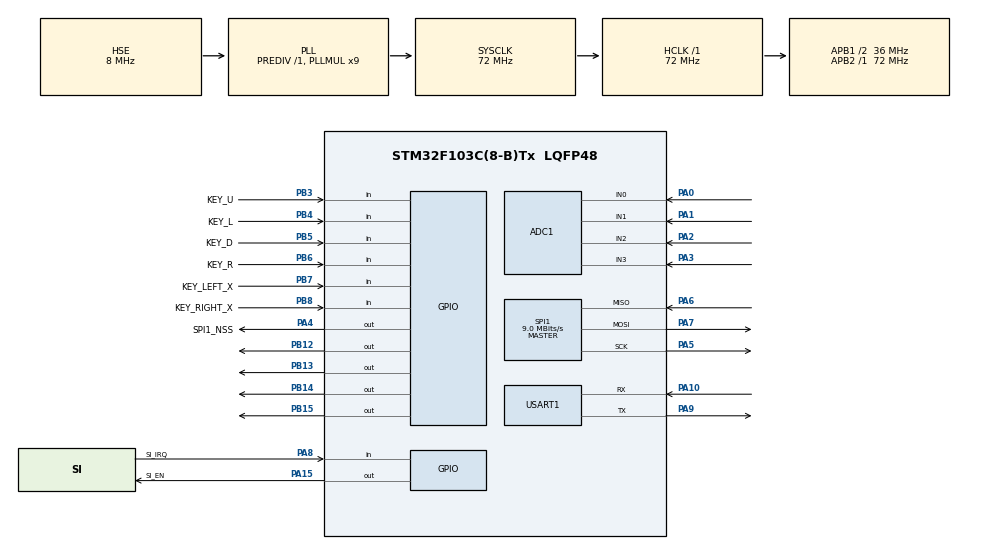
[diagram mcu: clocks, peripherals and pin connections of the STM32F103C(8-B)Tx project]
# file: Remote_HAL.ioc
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ADC1.Channel-0\#ChannelRegularConversion=ADC_CHANNEL_0
ADC1.Channel-1\#ChannelRegularConversion=ADC_CHANNEL_1
ADC1.Channel-2\#ChannelRegularConversion=ADC_CHANNEL_2
ADC1.Channel-3\#ChannelRegularConversion=ADC_CHANNEL_3
ADC1.ContinuousConvMode=ENABLE
ADC1.NbrOfConversion=4
ADC1.NbrOfConversionFlag=1
ADC1.Rank-0\#ChannelRegularConversion=1
ADC1.Rank-1\#ChannelRegularConversion=2
ADC1.Rank-2\#ChannelRegularConversion=3
ADC1.Rank-3\#ChannelRegularConversion=4
ADC1.SamplingTime-0\#ChannelRegularConversion=ADC_SAMPLETIME_7CYCLES_5
ADC1.SamplingTime-1\#ChannelRegularConversion=ADC_SAMPLETIME_7CYCLES_5
ADC1.SamplingTime-2\#ChannelRegularConversion=ADC_SAMPLETIME_7CYCLES_5
ADC1.SamplingTime-3\#ChannelRegularConversion=ADC_SAMPLETIME_7CYCLES_5
ADC1.master=1
Dma.ADC1.0.Direction=DMA_PERIPH_TO_MEMORY
Dma.ADC1.0.Instance=DMA1_Channel1
Dma.ADC1.0.MemDataAlignment=DMA_MDATAALIGN_HALFWORD
Dma.ADC1.0.MemInc=DMA_MINC_ENABLE
Dma.ADC1.0.Mode=DMA_CIRCULAR
Dma.ADC1.0.PeriphDataAlignment=DMA_PDATAALIGN_HALFWORD
Dma.ADC1.0.PeriphInc=DMA_PINC_DISABLE
Dma.ADC1.0.Priority=DMA_PRIORITY_HIGH
Dma.Request0=ADC1
Mcu.Family=STM32F1
Mcu.Name=STM32F103C(8-B)Tx
Mcu.Package=LQFP48
NVIC.DMA1_Channel1_IRQn=true\:0\:0\:false\:false\:true\:false\:true\:true
NVIC.PriorityGroup=NVIC_PRIORITYGROUP_4
PA0-WKUP.Signal=ADCx_IN0
PA1.Signal=ADCx_IN1
PA10.Mode=Asynchronous
PA10.Signal=USART1_RX
PA13.Mode=Serial_Wire
PA13.Signal=SYS_JTMS-SWDIO
PA14.Mode=Serial_Wire
PA14.Signal=SYS_JTCK-SWCLK
PA15.GPIO_Label=SI_EN
PA15.GPIO_Speed=GPIO_SPEED_FREQ_HIGH
PA15.PinState=GPIO_PIN_SET
PA15.Signal=GPIO_Output
PA2.Signal=ADCx_IN2
PA3.Signal=ADCx_IN3
PA4.GPIO_Label=SPI1_NSS
PA4.GPIO_Speed=GPIO_SPEED_FREQ_HIGH
PA4.PinState=GPIO_PIN_SET
PA4.Signal=GPIO_Output
PA5.Mode=Full_Duplex_Master
PA5.Signal=SPI1_SCK
PA6.Mode=Full_Duplex_Master
PA6.Signal=SPI1_MISO
PA7.Mode=Full_Duplex_Master
PA7.Signal=SPI1_MOSI
PA8.GPIO_Label=SI_IRQ
PA8.GPIO_PuPd=GPIO_PULLUP
PA8.Signal=GPIO_Input
PA9.Mode=Asynchronous
PA9.Signal=USART1_TX
PB12.GPIO_Speed=GPIO_SPEED_FREQ_HIGH
PB12.PinState=GPIO_PIN_SET
PB12.Signal=GPIO_Output
PB13.GPIO_Speed=GPIO_SPEED_FREQ_HIGH
PB13.PinState=GPIO_PIN_SET
PB13.Signal=GPIO_Output
PB14.GPIO_Speed=GPIO_SPEED_FREQ_HIGH
PB14.PinState=GPIO_PIN_SET
PB14.Signal=GPIO_Output
PB15.GPIO_Speed=GPIO_SPEED_FREQ_HIGH
PB15.PinState=GPIO_PIN_SET
PB15.Signal=GPIO_Output
PB3.GPIO_Label=KEY_U
PB3.GPIO_PuPd=GPIO_PULLUP
PB3.Signal=GPIO_Input
PB4.GPIO_Label=KEY_L
PB4.GPIO_PuPd=GPIO_PULLUP
PB4.Signal=GPIO_Input
PB5.GPIO_Label=KEY_D
PB5.GPIO_PuPd=GPIO_PULLUP
PB5.Signal=GPIO_Input
PB6.GPIO_Label=KEY_R
PB6.GPIO_PuPd=GPIO_PULLUP
PB6.Signal=GPIO_Input
PB7.GPIO_Label=KEY_LEFT_X
PB7.GPIO_PuPd=GPIO_PULLUP
PB7.Signal=GPIO_Input
PB8.GPIO_Label=KEY_RIGHT_X
PB8.Signal=GPIO_Input
PC14-OSC32_IN.Mode=LSE-External-Oscillator
PC14-OSC32_IN.Signal=RCC_OSC32_IN
PC15-OSC32_OUT.Mode=LSE-External-Oscillator
PC15-OSC32_OUT.Signal=RCC_OSC32_OUT
PD0-OSC_IN.Mode=HSE-External-Oscillator
PD0-OSC_IN.Signal=RCC_OSC_IN
PD1-OSC_OUT.Mode=HSE-External-Oscillator
PD1-OSC_OUT.Signal=RCC_OSC_OUT
ProjectManager.HeapSize=0x200
ProjectManager.StackSize=0x400
ProjectManager.TargetToolchain=MDK-ARM V5.32
RCC.ADCPresc=RCC_ADCPCLK2_DIV6
RCC.AHBFreq_Value=72000000
RCC.APB1CLKDivider=RCC_HCLK_DIV2
RCC.APB1Freq_Value=36000000
RCC.APB1TimFreq_Value=72000000
RCC.APB2Freq_Value=72000000
RCC.APB2TimFreq_Value=72000000
RCC.HCLKFreq_Value=72000000
RCC.PLLMUL=RCC_PLL_MUL9
RCC.PLLSourceVirtual=RCC_PLLSOURCE_HSE
RCC.SYSCLKFreq_VALUE=72000000
RCC.SYSCLKSource=RCC_SYSCLKSOURCE_PLLCLK
RCC.USBFreq_Value=72000000
SH.ADCx_IN0.0=ADC1_IN0,IN0
SH.ADCx_IN1.0=ADC1_IN1,IN1
SH.ADCx_IN2.0=ADC1_IN2,IN2
SH.ADCx_IN3.0=ADC1_IN3,IN3
SPI1.BaudRatePrescaler=SPI_BAUDRATEPRESCALER_8
SPI1.CalculateBaudRate=9.0 MBits/s
SPI1.Direction=SPI_DIRECTION_2LINES
SPI1.Mode=SPI_MODE_MASTER
SPI1.VirtualType=VM_MASTER
USART1.VirtualMode=VM_ASYNC
board=custom

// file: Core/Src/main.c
/* USER CODE BEGIN Header */
/**
 ******************************************************************************
 * @file           : main.c
 * @brief          : Main program body
 ******************************************************************************
 * @attention
 *
 * Copyright (c) 2024 STMicroelectronics.
 * All rights reserved.
 *
 * This software is licensed under terms that can be found in the LICENSE file
 * in the root directory of this software component.
 * If no LICENSE file comes with this software, it is provided AS-IS.
 *
 ******************************************************************************
 */
/* USER CODE END Header */
#include "main.h"
#include "adc.h"
#include "dma.h"
#include "spi.h"
#include "usart.h"
#include "gpio.h"

/* USER CODE BEGIN Includes */
#include "NRF24L01.h"
#include "App_Remote.h"
#include "oled.h"
#include "App_Task.h"
/* USER CODE END Includes */

/* USER CODE BEGIN PV */
uint16_t ADC_Value[4];
/* USER CODE END PV */

void SystemClock_Config(void);

int main(void)
{

  /* MCU Configuration--------------------------------------------------------*/

  /* Reset of all peripherals, Initializes the Flash interface and the Systick. */
  HAL_Init();

  /* Configure the system clock */
  SystemClock_Config();

  /* Initialize all configured peripherals */
  MX_GPIO_Init();
  MX_DMA_Init();
  MX_SPI1_Init();
  MX_USART1_UART_Init();
  MX_ADC1_Init();
  /* USER CODE BEGIN 2 */
  /*  start ADC-DMA
   0: 左摇杆的左右
        1: 左摇杆的上下
        2: 右摇杆的左右
        3: 右摇杆的上下
  */
  HAL_ADC_Start_DMA(&hadc1, (uint32_t *)&ADC_Value[0], 4);
  // 初始化2.4G
  while (NRF24L01_Check())
  {
    printf("NRF24L01 Check Failed!\r\n");
  }
  printf("remote check ok...\r\n");
  // 初始化为发送模式
  NRF24L01_TX_Mode();
  /*oled 初始化*/
  OLED_Init();
  /* 进入FreeRTOS */
  FreeRTOS_Start();
  /* USER CODE END 2 */

  /* Infinite loop */
  /* USER CODE BEGIN WHILE */
  uint8_t tx_buff[28] = {0};
  while (1)
  {
    /* USER CODE END WHILE */

    /* USER CODE BEGIN 3 */
    while (1)
    {
      /*===== 2.4G test_TX =====*/
      // NRF24L01_TxPacket(tx_buff);
      // // printf("Ciallo~\r\n");
      // // /*===== 测试摇杆ADC =====*/
      App_Remote_Stick_Scan();
      App_Remote_KeyPress();
      printf("thr=%d\r\n", rc.THR);
      printf("pitch=%d\r\n", rc.PIT);
      printf("roll=%d\r\n", rc.ROL);
      printf("yaw=%d\r\n", rc.YAW);
      App_Remote_RemoteData(tx_buff);

      for (uint8_t i = 0; i < 28; i++)
      {
        printf("send[%d]=%02x\r\n", i, tx_buff[i]);
      }

      NRF24L01_TxPacket(tx_buff);
      HAL_Delay(200);
      // App_Remote_Stick_Scan();
      // App_Remote_KeyPress();
    }
  }
  /* USER CODE END 3 */
}

void SystemClock_Config(void)
{
  RCC_OscInitTypeDef RCC_OscInitStruct = {0};
  RCC_ClkInitTypeDef RCC_ClkInitStruct = {0};
  RCC_PeriphCLKInitTypeDef PeriphClkInit = {0};

  /** Initializes the RCC Oscillators according to the specified parameters
   * in the RCC_OscInitTypeDef structure.
   */
  RCC_OscInitStruct.OscillatorType = RCC_OSCILLATORTYPE_HSE;
  RCC_OscInitStruct.HSEState = RCC_HSE_ON;
  RCC_OscInitStruct.HSEPredivValue = RCC_HSE_PREDIV_DIV1;
  RCC_OscInitStruct.HSIState = RCC_HSI_ON;
  RCC_OscInitStruct.PLL.PLLState = RCC_PLL_ON;
  RCC_OscInitStruct.PLL.PLLSource = RCC_PLLSOURCE_HSE;
  RCC_OscInitStruct.PLL.PLLMUL = RCC_PLL_MUL9;
  if (HAL_RCC_OscConfig(&RCC_OscInitStruct) != HAL_OK)
  {
    Error_Handler();
  }

  /** Initializes the CPU, AHB and APB buses clocks
   */
  RCC_ClkInitStruct.ClockType = RCC_CLOCKTYPE_HCLK | RCC_CLOCKTYPE_SYSCLK | RCC_CLOCKTYPE_PCLK1 | RCC_CLOCKTYPE_PCLK2;
  RCC_ClkInitStruct.SYSCLKSource = RCC_SYSCLKSOURCE_PLLCLK;
  RCC_ClkInitStruct.AHBCLKDivider = RCC_SYSCLK_DIV1;
  RCC_ClkInitStruct.APB1CLKDivider = RCC_HCLK_DIV2;
  RCC_ClkInitStruct.APB2CLKDivider = RCC_HCLK_DIV1;

  if (HAL_RCC_ClockConfig(&RCC_ClkInitStruct, FLASH_LATENCY_2) != HAL_OK)
  {
    Error_Handler();
  }
  PeriphClkInit.PeriphClockSelection = RCC_PERIPHCLK_ADC;
  PeriphClkInit.AdcClockSelection = RCC_ADCPCLK2_DIV6;
  if (HAL_RCCEx_PeriphCLKConfig(&PeriphClkInit) != HAL_OK)
  {
    Error_Handler();
  }
}

void Error_Handler(void)
{
  __disable_irq();
  while (1)
  {
  }
}
